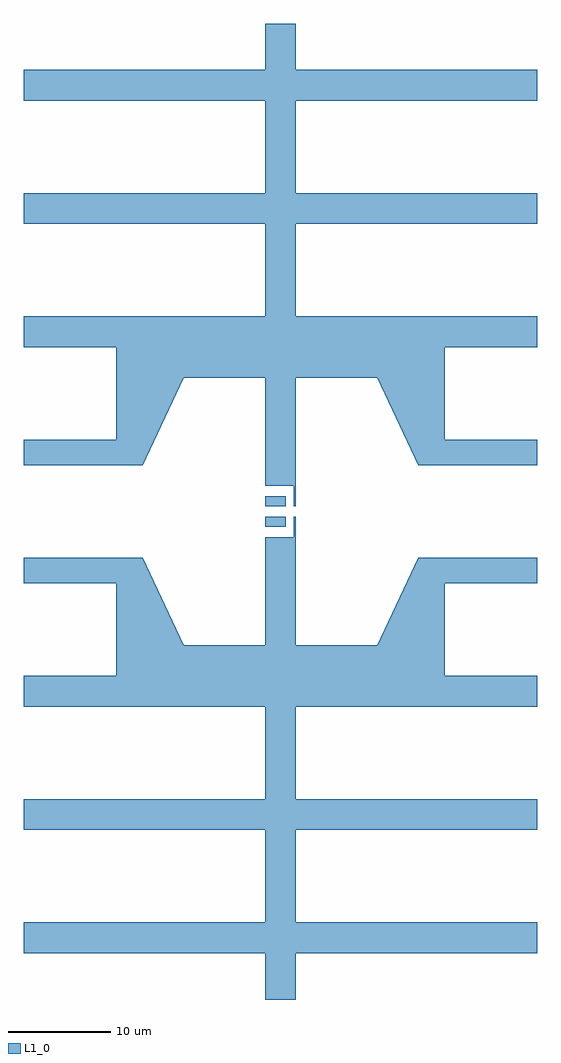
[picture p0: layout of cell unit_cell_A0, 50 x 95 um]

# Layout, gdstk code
from math import pi, radians
import gdstk
lib = gdstk.Library(unit=1e-6, precision=1e-09)
def R(c, l, rs):  # rectangles x0, y0, x1, y1
    for r in rs: c.add(gdstk.rectangle(r[:2], r[2:], *l))
def P(c, l, *ps):  # polygons
    for p in ps: c.add(gdstk.Polygon(p, *l))
L1_0 = (1, 0)

unnamed_261 = lib.new_cell('Unnamed_261')
P(unnamed_261, L1_0, [(23.5,0),(23.5,4.5),(0,4.5),(0,7.5),(23.5,7.5),(23.5,16.5),(0,16.5),(0,19.5),(23.5,19.5),(23.5,28.5),(0,28.5),(0,31.5),(9,31.5),(9,40.5),(0,40.5),(0,43),(11.597,43),(15.596,34.5),(23.5,34.5),(23.5,45),(25,45),(25,0)])

unnamed_262 = lib.new_cell('Unnamed_262')
unnamed_262.add(gdstk.Reference(unnamed_261, (0,0)))

rectangle_s2_1_lwg_cfal_ = lib.new_cell('rectangle_S2_1_LWG_CFal_a0a9c26d')
R(rectangle_s2_1_lwg_cfal_, L1_0, [(0,0,2,1)])

rectangle_s0p2_2_lwg_cf_ = lib.new_cell('rectangle_S0p2_2_LWG_CF_9ef6d549')
R(rectangle_s0p2_2_lwg_cf_, L1_0, [(0,0,0.2,2)])

unnamed_263 = lib.new_cell('Unnamed_263')
unnamed_263.add(gdstk.Reference(rectangle_s2_1_lwg_cfal_, (0,-1.5)))
unnamed_263.add(gdstk.Reference(rectangle_s0p2_2_lwg_cf_, (2.8,-2.5)))

unit_cell_a0 = lib.new_cell('unit_cell_A0')
unit_cell_a0.add(gdstk.Reference(unnamed_262, (0,0)))
unit_cell_a0.add(gdstk.Reference(unnamed_262, (50,0), rotation=pi, x_reflection=True))
unit_cell_a0.add(gdstk.Reference(unnamed_262, (0,95), x_reflection=True))
unit_cell_a0.add(gdstk.Reference(unnamed_262, (50,95), rotation=pi))
unit_cell_a0.add(gdstk.Reference(unnamed_263, (23.5,47.5)))
unit_cell_a0.add(gdstk.Reference(unnamed_263, (23.5,47.5), x_reflection=True))

lib.write_gds('unit_cell_A0.gds')
